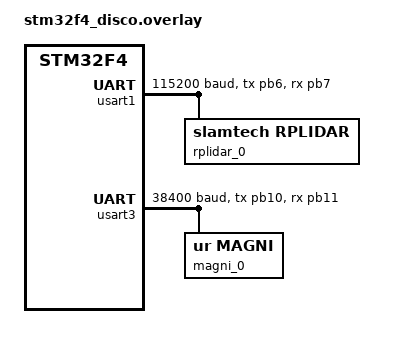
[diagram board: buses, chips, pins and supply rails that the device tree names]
/*
 * Copyright (c) 2021-2026 Tilmann Unte
 * SPDX-License-Identifier:  Apache-2.0
*/

&usart1 {
	status = "okay";
	pinctrl-0 = < &usart1_tx_pb6 &usart1_rx_pb7 >;
	pinctrl-names = "default";
	current-speed = <115200>;
	
	rplidar_0 {
		compatible = "slamtech,rplidar";
		status = "okay";
	};
};

&usart3 {
	status = "okay";
	pinctrl-0 = < &usart3_tx_pb10 &usart3_rx_pb11 >;
	pinctrl-names = "default";
	current-speed = <38400>;
	
	magni_0 {
		compatible = "ur,magni";
	};
};
